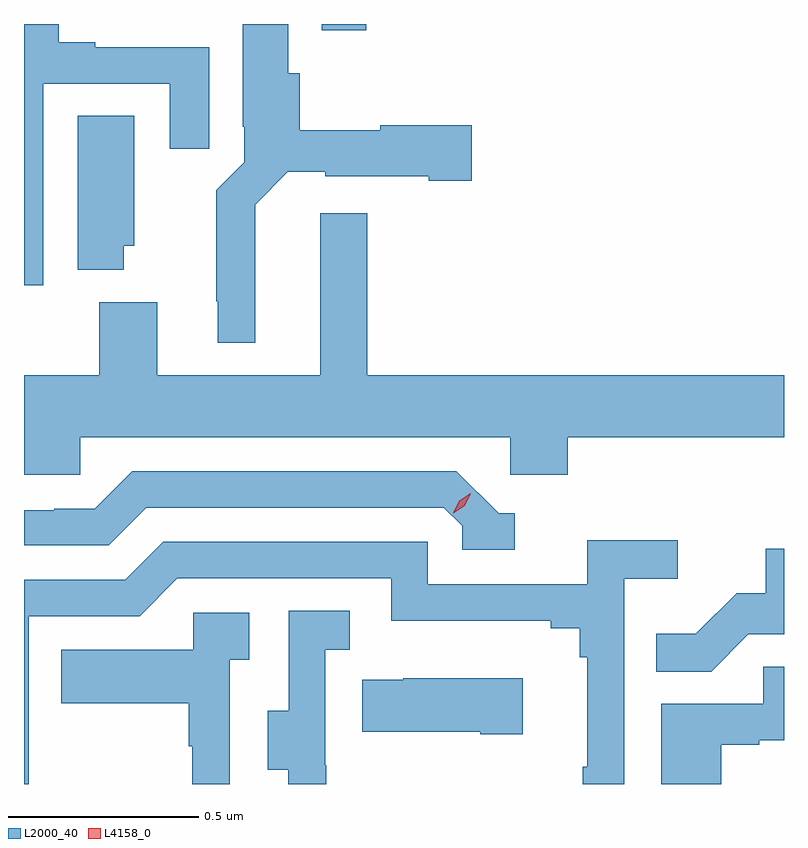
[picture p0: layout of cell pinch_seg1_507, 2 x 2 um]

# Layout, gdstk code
import gdstk
lib = gdstk.Library(unit=1e-6, precision=1e-09)
def R(c, l, rs):  # rectangles x0, y0, x1, y1
    for r in rs: c.add(gdstk.rectangle(r[:2], r[2:], *l))
def P(c, l, *ps):  # polygons
    for p in ps: c.add(gdstk.Polygon(p, *l))
L2000_40 = (2000, 40)
L4158_0 = (4158, 0)

pinch_seg1_507 = lib.new_cell('pinch_seg1_507')
R(pinch_seg1_507, L2000_40, [(1127.487,539.484,1127.603,539.5)])
P(pinch_seg1_507, L2000_40, [(1127.311,539.024),(1127.397,539.111),(1127.496,539.111),(1127.496,539.099),(1127.768,539.099),(1127.768,539.087),(1127.881,539.087),(1127.881,539.234),(1127.64,539.234),(1127.64,539.221),(1127.429,539.221),(1127.429,539.37),(1127.398,539.37),(1127.398,539.5),(1127.279,539.5),(1127.279,539.23),(1127.283,539.23),(1127.283,539.136),(1127.209,539.062),(1127.209,538.771),(1127.213,538.771),(1127.213,538.661),(1127.311,538.661)],
  [(1126.753,539.343),(1127.087,539.343),(1127.087,539.172),(1127.191,539.172),(1127.191,539.439),(1126.891,539.439),(1126.891,539.452),(1126.795,539.452),(1126.795,539.5),(1126.703,539.5),(1126.703,538.812),(1126.753,538.812)],
  [(1126.966,538.917),(1126.993,538.917),(1126.993,539.258),(1126.844,539.258),(1126.844,538.853),(1126.966,538.853)],
  [(1126.851,538.412),(1127.982,538.412),(1127.982,538.314),(1128.134,538.314),(1128.134,538.412),(1128.703,538.412),(1128.703,538.576),(1127.606,538.576),(1127.606,539.002),(1127.483,539.002),(1127.483,538.576),(1127.053,538.576),(1127.053,538.768),(1126.901,538.768),(1126.901,538.576),(1126.703,538.576),(1126.703,538.314),(1126.851,538.314)],
  [(1127.995,538.212),(1127.952,538.212),(1127.841,538.323),(1126.988,538.323),(1126.889,538.224),(1126.782,538.224),(1126.782,538.221),(1126.703,538.221),(1126.703,538.128),(1126.926,538.128),(1127.025,538.227),(1127.808,538.227),(1127.856,538.179),(1127.856,538.116),(1127.995,538.116)],
  [(1126.716,537.942),(1127.007,537.942),(1127.106,538.041),(1127.67,538.041),(1127.67,537.929),(1128.089,537.929),(1128.089,537.91),(1128.166,537.91),(1128.166,537.833),(1128.185,537.833),(1128.185,537.545),(1128.174,537.545),(1128.174,537.5),(1128.282,537.5),(1128.282,538.04),(1128.424,538.04),(1128.424,538.142),(1128.185,538.142),(1128.185,538.026),(1127.766,538.026),(1127.766,538.137),(1127.069,538.137),(1126.97,538.038),(1126.703,538.038),(1126.703,537.5),(1126.716,537.5)],
  [(1128.609,537.894),(1128.703,537.894),(1128.703,538.119),(1128.655,538.119),(1128.655,538.002),(1128.578,538.002),(1128.471,537.895),(1128.367,537.895),(1128.367,537.796),(1128.511,537.796)],
  [(1127.498,537.549),(1127.496,537.549),(1127.496,537.853),(1127.56,537.853),(1127.56,537.956),(1127.4,537.956),(1127.4,537.693),(1127.345,537.693),(1127.345,537.538),(1127.399,537.538),(1127.399,537.5),(1127.498,537.5)],
  [(1127.244,537.827),(1127.296,537.827),(1127.296,537.951),(1127.148,537.951),(1127.148,537.853),(1126.801,537.853),(1126.801,537.713),(1127.136,537.713),(1127.136,537.599),(1127.146,537.599),(1127.146,537.5),(1127.244,537.5)],
  [(1128.538,537.603),(1128.638,537.603),(1128.638,537.615),(1128.703,537.615),(1128.703,537.809),(1128.649,537.809),(1128.649,537.711),(1128.38,537.711),(1128.38,537.5),(1128.538,537.5)],
  [(1128.016,537.778),(1127.701,537.778),(1127.701,537.775),(1127.593,537.775),(1127.593,537.638),(1127.903,537.638),(1127.903,537.631),(1128.016,537.631)])
P(pinch_seg1_507, L4158_0, [(1127.833,538.212),(1127.833,538.212),(1127.848,538.245),(1127.879,538.265),(1127.879,538.265),(1127.879,538.265),(1127.863,538.232),(1127.833,538.212)])

lib.write_gds('pinch_seg1_507.gds')
